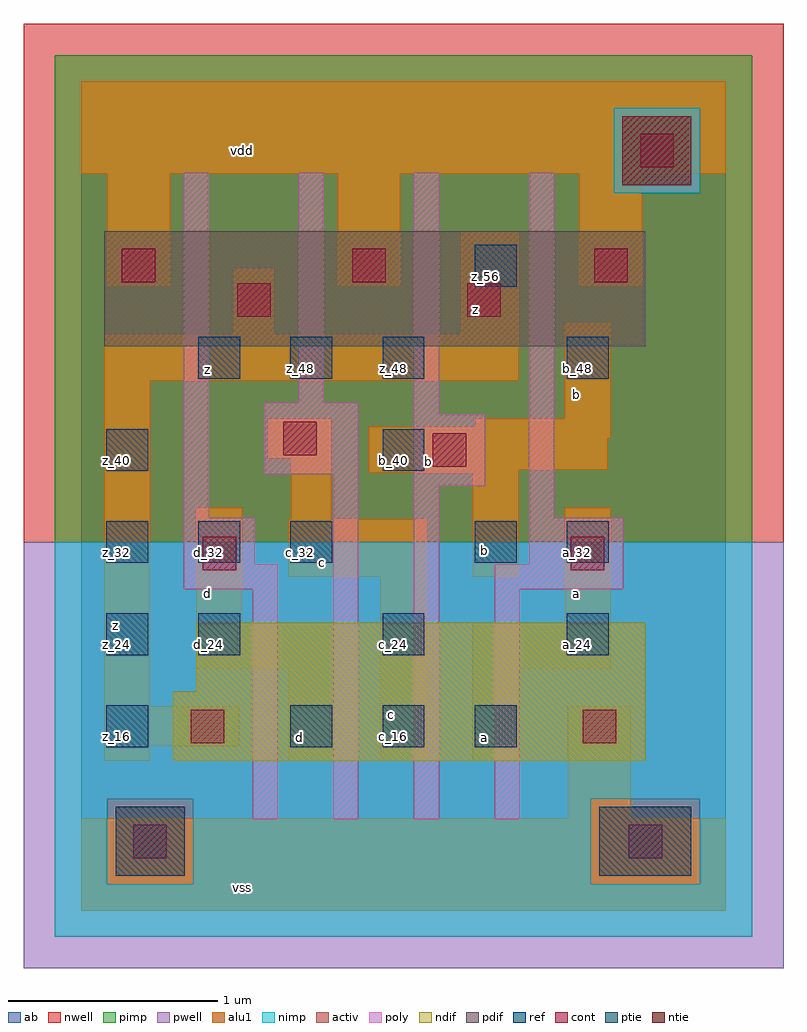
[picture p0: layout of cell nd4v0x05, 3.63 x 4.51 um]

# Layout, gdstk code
import gdstk
lib = gdstk.Library(unit=1e-6, precision=2.5e-09)
def R(c, l, rs):  # rectangles x0, y0, x1, y1
    for r in rs: c.add(gdstk.rectangle(r[:2], r[2:], *l))
def A(c, l, x, y, w, h, nx, ny, dx, dy):  # array of equal rectangles
    R(c, l, [(x+i*dx, y+j*dy, x+i*dx+w, y+j*dy+h) for i in range(nx) for j in range(ny)])
ndif = (3, 0)
pdif = (4, 0)
ntie = (5, 0)
ptie = (6, 0)
ref = (24, 0)
cont = (25, 0)
pwell = (41, 0)
nwell = (42, 0)
activ = (43, 0)
pimp = (44, 0)
nimp = (45, 0)
poly = (46, 0)
alu1 = (49, 0)
ab = (63, 0)

nd4v0x05 = lib.new_cell('nd4v0x05')
R(nd4v0x05, ndif, [(0.44,0.715,2.695,1.045), (0.55,1.045,2.695,1.375)])
R(nd4v0x05, pdif, [(0.11,2.695,2.695,3.245)])
R(nd4v0x05, ntie, [(2.585,3.465,2.915,3.795)])
R(nd4v0x05, ptie, [(0.165,0.165,0.495,0.495), (2.475,0.165,2.915,0.495)])
A(nd4v0x05, ref, 1, 0.78, 0.2, 0.2, 3, 1, 0.44, 0)
A(nd4v0x05, ref, 0.56, 1.22, 0.2, 0.2, 3, 1, 0.88, 0)
A(nd4v0x05, ref, 0.12, 1.66, 0.2, 0.2, 3, 1, 0.44, 0)
A(nd4v0x05, ref, 0.56, 2.54, 0.2, 0.2, 3, 1, 0.44, 0)
R(nd4v0x05, ref, [(0.12,0.78,0.32,0.98), (0.12,1.22,0.32,1.42), (1.88,1.66,2.08,1.86), (2.32,1.66,2.52,1.86), (0.12,2.1,0.32,2.3), (1.44,2.1,1.64,2.3), (2.32,2.54,2.52,2.74), (1.88,2.98,2.08,3.18)])
R(nd4v0x05, cont, [(0.25,0.25,0.41,0.41), (2.615,0.25,2.775,0.41), (0.525,0.8,0.685,0.96), (2.395,0.8,2.555,0.96), (0.58,1.625,0.74,1.785), (2.34,1.625,2.5,1.785), (1.68,2.12,1.84,2.28), (0.965,2.175,1.125,2.335), (0.745,2.835,0.905,2.995), (1.845,2.835,2.005,2.995), (0.195,3,0.355,3.16), (1.295,3,1.455,3.16), (2.45,3,2.61,3.16), (2.67,3.55,2.83,3.71)])
R(nd4v0x05, pwell, [(-0.275,-0.275,3.355,1.76)])
R(nd4v0x05, nwell, [(-0.275,1.76,3.355,4.235)])
R(nd4v0x05, activ, [(0.165,0.165,0.495,0.495), (2.475,0.165,2.915,0.495), (0.44,0.715,2.695,1.045), (0.55,1.045,2.695,1.375), (0.11,2.695,2.695,3.245), (2.585,3.465,2.915,3.795)])
R(nd4v0x05, pimp, [(0.125,0.125,0.535,0.535), (2.435,0.125,2.955,0.535), (-0.125,1.76,3.205,3.425), (-0.125,3.425,2.545,3.835), (2.955,3.425,3.205,3.835), (-0.125,3.835,3.205,4.085)])
R(nd4v0x05, nimp, [(-0.125,-0.125,3.205,0.125), (-0.125,0.125,0.125,0.535), (0.535,0.125,2.435,0.535), (2.955,0.125,3.205,0.535), (-0.125,0.535,3.205,1.76), (2.545,3.425,2.955,3.835)])
R(nd4v0x05, poly, [(0.82,0.435,0.94,1.535), (1.205,0.435,1.325,2.085), (1.59,0.435,1.71,2.03), (1.975,0.435,2.095,1.535), (0.49,1.535,0.94,1.655), (1.975,1.535,2.59,1.655), (0.49,1.655,0.83,1.875), (2.14,1.655,2.59,1.875), (0.49,1.875,0.61,3.525), (2.14,1.875,2.26,3.525), (1.59,2.03,1.93,2.37), (0.875,2.085,1.325,2.425), (1.59,2.37,1.71,3.525), (1.04,2.425,1.16,3.525)])
R(nd4v0x05, alu1, [(0,0,3.08,0.44), (2.325,0.44,2.625,0.975), (0.11,0.715,0.33,0.785), (0.99,0.715,1.21,1.155), (1.43,0.715,1.65,1.595), (1.87,0.715,2.09,1.155), (0.11,0.785,0.755,0.975), (0.11,0.975,0.33,2.53), (0.55,1.155,1.21,1.375), (1.87,1.155,2.53,1.375), (0.55,1.375,0.77,1.925), (2.31,1.375,2.53,1.925), (0.99,1.595,1.65,1.87), (1.87,1.595,2.09,2.09), (1.005,1.87,1.195,2.16), (1.375,2.09,2.09,2.105), (1.375,2.105,2.515,2.255), (0.895,2.16,1.195,2.35), (1.375,2.255,2.53,2.31), (1.885,2.31,2.53,2.35), (2.31,2.35,2.53,2.805), (0.11,2.53,2.09,2.75), (0.73,2.75,0.92,3.065), (1.815,2.75,2.09,3.245), (0.125,2.985,0.425,3.52), (1.225,2.985,1.525,3.52), (2.38,2.985,2.68,3.52), (0,3.52,3.08,3.96)])
R(nd4v0x05, ab, [(0,0,3.08,3.96)])
nd4v0x05.add(gdstk.Label('vss', (0.77,0.11), layer=49, texttype=0))
nd4v0x05.add(gdstk.Label('a', (1.925,0.825), layer=49, texttype=0))
nd4v0x05.add(gdstk.Label('a', (2.365,1.5125), layer=49, texttype=0))
nd4v0x05.add(gdstk.Label('c', (1.485,0.935), layer=49, texttype=0))
nd4v0x05.add(gdstk.Label('d', (1.045,0.825), layer=49, texttype=0))
nd4v0x05.add(gdstk.Label('b', (1.925,1.7175), layer=49, texttype=0))
nd4v0x05.add(gdstk.Label('c', (1.155,1.6625), layer=49, texttype=0))
nd4v0x05.add(gdstk.Label('b', (1.66,2.1425), layer=49, texttype=0))
nd4v0x05.add(gdstk.Label('d', (0.605,1.5125), layer=49, texttype=0))
nd4v0x05.add(gdstk.Label('b', (2.365,2.4625), layer=49, texttype=0))
nd4v0x05.add(gdstk.Label('z', (0.165,1.3625), layer=49, texttype=0))
nd4v0x05.add(gdstk.Label('z', (0.605,2.585), layer=49, texttype=0))
nd4v0x05.add(gdstk.Label('z', (1.8825,2.8725), layer=49, texttype=0))
nd4v0x05.add(gdstk.Label('vdd', (0.77,3.63), layer=49, texttype=0))
nd4v0x05.add(gdstk.Label('d_24', (0.61,1.27), layer=24, texttype=0))
nd4v0x05.add(gdstk.Label('d_32', (0.61,1.71), layer=24, texttype=0))
nd4v0x05.add(gdstk.Label('z_48', (0.61,2.59), layer=24, texttype=0))
nd4v0x05.add(gdstk.Label('d_16', (1.05,0.83), layer=24, texttype=0))
nd4v0x05.add(gdstk.Label('c_32', (1.05,1.71), layer=24, texttype=0))
nd4v0x05.add(gdstk.Label('z_48', (1.05,2.59), layer=24, texttype=0))
nd4v0x05.add(gdstk.Label('c_16', (1.49,0.83), layer=24, texttype=0))
nd4v0x05.add(gdstk.Label('c_24', (1.49,1.27), layer=24, texttype=0))
nd4v0x05.add(gdstk.Label('b_40', (1.49,2.15), layer=24, texttype=0))
nd4v0x05.add(gdstk.Label('z_48', (1.49,2.59), layer=24, texttype=0))
nd4v0x05.add(gdstk.Label('a_16', (1.93,0.83), layer=24, texttype=0))
nd4v0x05.add(gdstk.Label('b_32', (1.93,1.71), layer=24, texttype=0))
nd4v0x05.add(gdstk.Label('z_56', (1.93,3.03), layer=24, texttype=0))
nd4v0x05.add(gdstk.Label('z_16', (0.17,0.83), layer=24, texttype=0))
nd4v0x05.add(gdstk.Label('z_24', (0.17,1.27), layer=24, texttype=0))
nd4v0x05.add(gdstk.Label('z_32', (0.17,1.71), layer=24, texttype=0))
nd4v0x05.add(gdstk.Label('z_40', (0.17,2.15), layer=24, texttype=0))
nd4v0x05.add(gdstk.Label('a_24', (2.37,1.27), layer=24, texttype=0))
nd4v0x05.add(gdstk.Label('a_32', (2.37,1.71), layer=24, texttype=0))
nd4v0x05.add(gdstk.Label('b_48', (2.37,2.59), layer=24, texttype=0))

lib.write_gds('nd4v0x05.gds')
